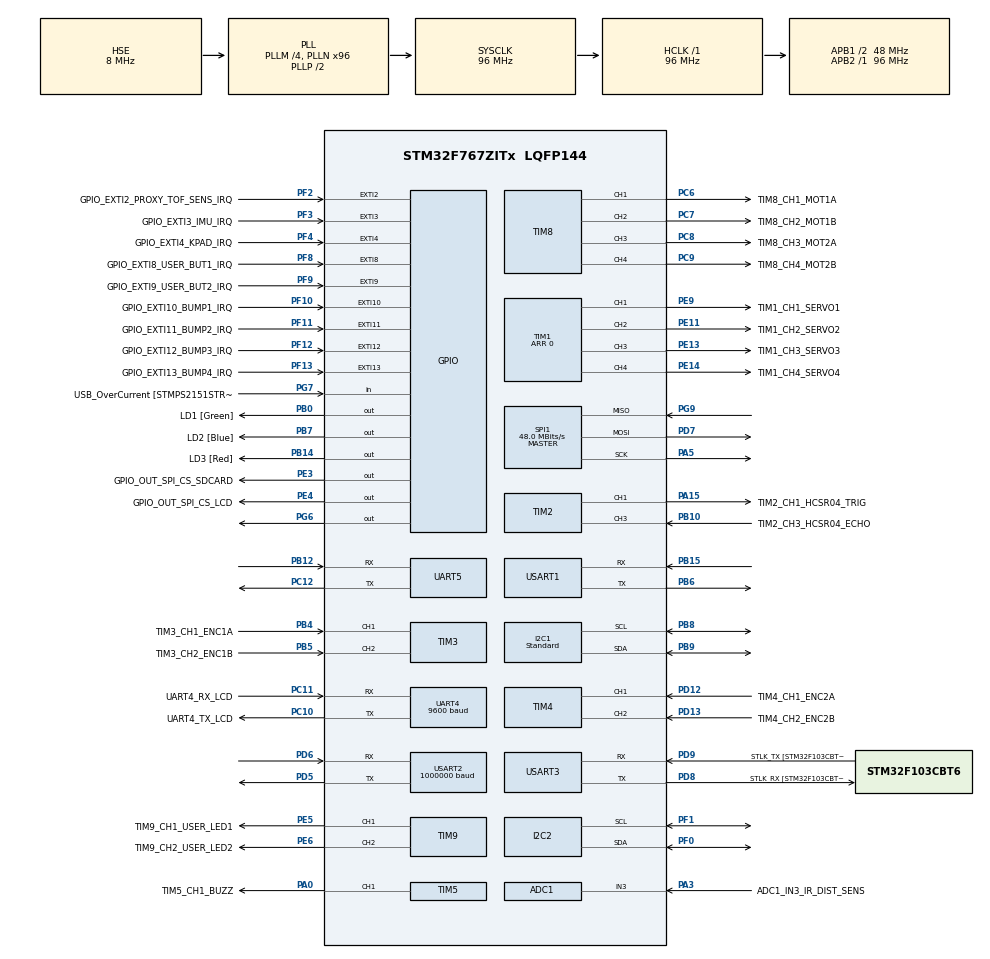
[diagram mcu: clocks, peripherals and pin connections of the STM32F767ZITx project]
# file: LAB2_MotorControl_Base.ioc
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ADC1.Channel-1\#ChannelRegularConversion=ADC_CHANNEL_3
ADC1.NbrOfConversionFlag=1
ADC1.Rank-1\#ChannelRegularConversion=1
ADC1.SamplingTime-1\#ChannelRegularConversion=ADC_SAMPLETIME_3CYCLES
ADC1.master=1
I2C1.I2C_Speed_Mode=I2C_Standard
I2C1.Timing=0x20303E5D
I2C2.Timing=0x20303E5D
Mcu.Family=STM32F7
Mcu.Name=STM32F767ZITx
Mcu.Package=LQFP144
Mcu.UserConstants=TIM3_ARR_VALUE,3839;TIM4_ARR_VALUE,3839;TIM8_PSC_VALUE,959;TIM8_ARR_VALUE,399;TIM6_PSC_VALUE,959;TIM6_ARR_VALUE,999;TIM1_PSC_VALUE,959;TIM1_ARR_VALUE,1999
NVIC.PriorityGroup=NVIC_PRIORITYGROUP_4
NVIC.TIM6_DAC_IRQn=true\:1\:0\:true\:false\:true\:true\:true
PA0/WKUP.GPIO_Label=TIM5_CH1_BUZZ
PA0/WKUP.Signal=S_TIM5_CH1
PA1.GPIO_Label=RMII_REF_CLK [LAN8742A-CZ-TR_REFCLK0]
PA1.Signal=ETH_REF_CLK
PA10.GPIO_Label=USB_ID
PA10.Signal=USB_OTG_FS_ID
PA11.GPIO_Label=USB_DM
PA11.Signal=USB_OTG_FS_DM
PA12.GPIO_Label=USB_DP
PA12.Signal=USB_OTG_FS_DP
PA13.GPIO_Label=TMS
PA13.Mode=Serial_Wire
PA13.Signal=SYS_JTMS-SWDIO
PA14.GPIO_Label=TCK
PA14.Mode=Serial_Wire
PA14.Signal=SYS_JTCK-SWCLK
PA15.GPIO_Label=TIM2_CH1_HCSR04_TRIG
PA15.Signal=S_TIM2_CH1_ETR
PA2.GPIO_Label=RMII_MDIO [LAN8742A-CZ-TR_MDIO]
PA2.Signal=ETH_MDIO
PA3.GPIO_Label=ADC1_IN3_IR_DIST_SENS
PA3.Signal=ADCx_IN3
PA5.Mode=Full_Duplex_Master
PA5.Signal=SPI1_SCK
PA7.GPIO_Label=RMII_CRS_DV [LAN8742A-CZ-TR_CRS_DV]
PA7.Signal=ETH_CRS_DV
PA8.GPIO_Label=USB_SOF [TP1]
PA8.Signal=USB_OTG_FS_SOF
PA9.GPIO_Label=USB_VBUS
PA9.Signal=USB_OTG_FS_VBUS
PB0.GPIO_Label=LD1 [Green]
PB0.Signal=GPIO_Output
PB10.GPIO_Label=TIM2_CH3_HCSR04_ECHO
PB10.Signal=S_TIM2_CH3
PB12.Mode=Asynchronous
PB12.Signal=UART5_RX
PB13.GPIO_Label=RMII_TXD1 [LAN8742A-CZ-TR_TXD1]
PB13.Signal=ETH_TXD1
PB14.GPIO_Label=LD3 [Red]
PB14.Signal=GPIO_Output
PB15.Mode=Asynchronous
PB15.Signal=USART1_RX
PB3.GPIO_Label=SWO
PB3.Signal=SYS_JTDO-SWO
PB4.GPIO_Label=TIM3_CH1_ENC1A
PB4.Signal=S_TIM3_CH1
PB5.GPIO_Label=TIM3_CH2_ENC1B
PB5.Signal=S_TIM3_CH2
PB6.Mode=Asynchronous
PB6.Signal=USART1_TX
PB7.GPIO_Label=LD2 [Blue]
PB7.Signal=GPIO_Output
PB8.Mode=I2C
PB8.Signal=I2C1_SCL
PB9.Mode=I2C
PB9.Signal=I2C1_SDA
PC1.GPIO_Label=RMII_MDC [LAN8742A-CZ-TR_MDC]
PC1.Signal=ETH_MDC
PC10.GPIO_Label=UART4_TX_LCD
PC10.Mode=Asynchronous
PC10.Signal=UART4_TX
PC11.GPIO_Label=UART4_RX_LCD
PC11.Mode=Asynchronous
PC11.Signal=UART4_RX
PC12.Mode=Asynchronous
PC12.Signal=UART5_TX
PC14/OSC32_IN.Mode=LSE-External-Oscillator
PC14/OSC32_IN.Signal=RCC_OSC32_IN
PC15/OSC32_OUT.Mode=LSE-External-Oscillator
PC15/OSC32_OUT.Signal=RCC_OSC32_OUT
PC4.GPIO_Label=RMII_RXD0 [LAN8742A-CZ-TR_RXD0]
PC4.Signal=ETH_RXD0
PC5.GPIO_Label=RMII_RXD1 [LAN8742A-CZ-TR_RXD1]
PC5.Signal=ETH_RXD1
PC6.GPIO_Label=TIM8_CH1_MOT1A
PC6.Signal=S_TIM8_CH1
PC7.GPIO_Label=TIM8_CH2_MOT1B
PC7.Signal=S_TIM8_CH2
PC8.GPIO_Label=TIM8_CH3_MOT2A
PC8.Signal=S_TIM8_CH3
PC9.GPIO_Label=TIM8_CH4_MOT2B
PC9.Signal=S_TIM8_CH4
PD12.GPIO_Label=TIM4_CH1_ENC2A
PD12.Signal=S_TIM4_CH1
PD13.GPIO_Label=TIM4_CH2_ENC2B
PD13.Signal=S_TIM4_CH2
PD5.Mode=Asynchronous
PD5.Signal=USART2_TX
PD6.Mode=Asynchronous
PD6.Signal=USART2_RX
PD7.Mode=Full_Duplex_Master
PD7.Signal=SPI1_MOSI
PD8.GPIO_Label=STLK_RX [STM32F103CBT6_PA3]
PD8.Mode=Asynchronous
PD8.Signal=USART3_TX
PD9.GPIO_Label=STLK_TX [STM32F103CBT6_PA2]
PD9.Mode=Asynchronous
PD9.Signal=USART3_RX
PE11.GPIO_Label=TIM1_CH2_SERVO2
PE11.Signal=S_TIM1_CH2
PE13.GPIO_Label=TIM1_CH3_SERVO3
PE13.Signal=S_TIM1_CH3
PE14.GPIO_Label=TIM1_CH4_SERVO4
PE14.Signal=S_TIM1_CH4
PE3.GPIO_Label=GPIO_OUT_SPI_CS_SDCARD
PE3.Signal=GPIO_Output
PE4.GPIO_Label=GPIO_OUT_SPI_CS_LCD
PE4.Signal=GPIO_Output
PE5.GPIO_Label=TIM9_CH1_USER_LED1
PE5.Signal=S_TIM9_CH1
PE6.GPIO_Label=TIM9_CH2_USER_LED2
PE6.Signal=S_TIM9_CH2
PE9.GPIO_Label=TIM1_CH1_SERVO1
PE9.Signal=S_TIM1_CH1
PF0.Mode=I2C
PF0.Signal=I2C2_SDA
PF1.Mode=I2C
PF1.Signal=I2C2_SCL
PF10.GPIO_Label=GPIO_EXTI10_BUMP1_IRQ
PF10.Signal=GPXTI10
PF11.GPIO_Label=GPIO_EXTI11_BUMP2_IRQ
PF11.Signal=GPXTI11
PF12.GPIO_Label=GPIO_EXTI12_BUMP3_IRQ
PF12.Signal=GPXTI12
PF13.GPIO_Label=GPIO_EXTI13_BUMP4_IRQ
PF13.Signal=GPXTI13
PF2.GPIO_Label=GPIO_EXTI2_PROXY_TOF_SENS_IRQ
PF2.Signal=GPXTI2
PF3.GPIO_Label=GPIO_EXTI3_IMU_IRQ
PF3.Signal=GPXTI3
PF4.GPIO_Label=GPIO_EXTI4_KPAD_IRQ
PF4.Signal=GPXTI4
PF8.GPIO_Label=GPIO_EXTI8_USER_BUT1_IRQ
PF8.Signal=GPXTI8
PF9.GPIO_Label=GPIO_EXTI9_USER_BUT2_IRQ
PF9.Signal=GPXTI9
PG11.GPIO_Label=RMII_TX_EN [LAN8742A-CZ-TR_TXEN]
PG11.Signal=ETH_TX_EN
PG13.GPIO_Label=RMII_TXD0 [LAN8742A-CZ-TR_TXD0]
PG13.Signal=ETH_TXD0
PG6.Signal=GPIO_Output
PG7.GPIO_Label=USB_OverCurrent [STMPS2151STR_FAULT]
PG7.Signal=GPIO_Input
PG9.Mode=Full_Duplex_Master
PG9.Signal=SPI1_MISO
PH0/OSC_IN.GPIO_Label=MCO [STM32F103CBT6_PA8]
PH0/OSC_IN.Mode=HSE-External-Clock-Source
PH0/OSC_IN.Signal=RCC_OSC_IN
PH1/OSC_OUT.Mode=HSE-External-Clock-Source
PH1/OSC_OUT.Signal=RCC_OSC_OUT
ProjectManager.HeapSize=0x200
ProjectManager.StackSize=0x400
ProjectManager.TargetToolchain=STM32CubeIDE
RCC.48MHZClocksFreq_Value=24000000
RCC.AHBFreq_Value=96000000
RCC.APB1CLKDivider=RCC_HCLK_DIV2
RCC.APB1Freq_Value=48000000
RCC.APB1TimFreq_Value=96000000
RCC.APB2Freq_Value=96000000
RCC.APB2TimFreq_Value=96000000
RCC.CortexFreq_Value=96000000
RCC.HCLKFreq_Value=96000000
RCC.HSE_VALUE=8000000
RCC.HSI_VALUE=16000000
RCC.PLLM=4
RCC.PLLMUL=RCC_PLL_MUL9
RCC.PLLN=96
RCC.PLLQ=4
RCC.PLLSourceVirtual=RCC_PLLSOURCE_HSE
RCC.PRESCALERUSB=RCC_USBCLKSOURCE_PLL_DIV1_5
RCC.SYSCLKFreq_VALUE=96000000
RCC.SYSCLKSource=RCC_SYSCLKSOURCE_PLLCLK
RCC.SYSCLKSourceVirtual=RCC_SYSCLKSOURCE_PLLCLK
RCC.USBFreq_Value=48000000
RCC.VCOOutputFreq_Value=192000000
SH.ADCx_IN3.0=ADC1_IN3,IN3
SH.S_TIM1_CH1.0=TIM1_CH1,Forced Output1 CH1
SH.S_TIM1_CH2.0=TIM1_CH2,Forced Output2 CH2
SH.S_TIM1_CH3.0=TIM1_CH3,Forced Output3 CH3
SH.S_TIM1_CH4.0=TIM1_CH4,Forced Output4 CH4
SH.S_TIM2_CH1_ETR.0=TIM2_CH1,PWM Generation1 CH1
SH.S_TIM2_CH3.0=TIM2_CH3,Input_Capture3_from_TI3
SH.S_TIM3_CH1.0=TIM3_CH1,Encoder_Interface
SH.S_TIM3_CH2.0=TIM3_CH2,Encoder_Interface
SH.S_TIM4_CH1.0=TIM4_CH1,Encoder_Interface
SH.S_TIM4_CH2.0=TIM4_CH2,Encoder_Interface
SH.S_TIM5_CH1.0=TIM5_CH1,PWM Generation1 CH1
SH.S_TIM8_CH1.0=TIM8_CH1,PWM Generation1 CH1
SH.S_TIM8_CH2.0=TIM8_CH2,PWM Generation2 CH2
SH.S_TIM8_CH3.0=TIM8_CH3,PWM Generation3 CH3
SH.S_TIM8_CH4.0=TIM8_CH4,PWM Generation4 CH4
SH.S_TIM9_CH1.0=TIM9_CH1,PWM Generation1 CH1
SH.S_TIM9_CH2.0=TIM9_CH2,PWM Generation2 CH2
SPI1.CalculateBaudRate=48.0 MBits/s
SPI1.Direction=SPI_DIRECTION_2LINES
SPI1.Mode=SPI_MODE_MASTER
SPI1.VirtualType=VM_MASTER
TIM1.Channel-Forced\ Output1\ CH1=TIM_CHANNEL_1
TIM1.Channel-Forced\ Output2\ CH2=TIM_CHANNEL_2
TIM1.Channel-Forced\ Output3\ CH3=TIM_CHANNEL_3
TIM1.Channel-Forced\ Output4\ CH4=TIM_CHANNEL_4
TIM1.OCPolarity_1=TIM_OCPOLARITY_LOW
TIM1.OCPolarity_2=TIM_OCPOLARITY_LOW
TIM1.OCPolarity_3=TIM_OCPOLARITY_LOW
TIM1.OCPolarity_4=TIM_OCPOLARITY_LOW
TIM1.Period=0
TIM2.Channel-Input_Capture3_from_TI3=TIM_CHANNEL_3
TIM2.Channel-PWM\ Generation1\ CH1=TIM_CHANNEL_1
TIM3.EncoderMode=TIM_ENCODERMODE_TI12
TIM3.IC1Filter=15
TIM3.IC2Filter=15
TIM3.Period=TIM3_ARR_VALUE
TIM4.EncoderMode=TIM_ENCODERMODE_TI12
TIM4.IC1Filter=15
TIM4.IC2Filter=15
TIM4.Period=TIM4_ARR_VALUE
TIM5.Channel-PWM\ Generation1\ CH1=TIM_CHANNEL_1
TIM6.Period=TIM6_ARR_VALUE
TIM6.Prescaler=TIM6_PSC_VALUE
TIM8.Channel-PWM\ Generation1\ CH1=TIM_CHANNEL_1
TIM8.Channel-PWM\ Generation2\ CH2=TIM_CHANNEL_2
TIM8.Channel-PWM\ Generation3\ CH3=TIM_CHANNEL_3
TIM8.Channel-PWM\ Generation4\ CH4=TIM_CHANNEL_4
TIM8.Period=TIM8_ARR_VALUE
TIM8.Prescaler=TIM8_PSC_VALUE
TIM9.Channel-PWM\ Generation1\ CH1=TIM_CHANNEL_1
TIM9.Channel-PWM\ Generation2\ CH2=TIM_CHANNEL_2
UART4.BaudRate=9600
USART1.VirtualMode-Asynchronous=VM_ASYNC
USART2.BaudRate=1000000
USART2.VirtualMode-Asynchronous=VM_ASYNC
USART3.VirtualMode-Asynchronous=VM_ASYNC
VP_TIM1_VS_ClockSourceINT.Mode=Internal
VP_TIM2_VS_ClockSourceINT.Mode=Internal
VP_TIM5_VS_ClockSourceINT.Mode=Internal
VP_TIM6_VS_ClockSourceINT.Mode=Enable_Timer
VP_TIM8_VS_ClockSourceINT.Mode=Internal
board=NUCLEO-F767ZI

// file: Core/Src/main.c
/* USER CODE BEGIN Header */
/**
  ******************************************************************************
  * @file           : main.c
  * @brief          : Main program body
  ******************************************************************************
  * @attention
  *
  * <h2><center>&copy; Copyright (c) 2021 STMicroelectronics.
  * All rights reserved.</center></h2>
  *
  * This software component is licensed by ST under BSD 3-Clause license,
  * the "License"; You may not use this file except in compliance with the
  * License. You may obtain a copy of the License at:
  *                        opensource.org/licenses/BSD-3-Clause
  *
  ******************************************************************************
  */
/* USER CODE END Header */
#include "main.h"

/* USER CODE BEGIN Includes */
#include <math.h>
#include <stdbool.h>
#include "ertc-datalogger.h"
/* USER CODE END Includes */

/* USER CODE BEGIN PD */
//#define	HAL_TIMEOUT		1
#define TS	0.01

#define VBATT	8.0
#define V2DUTY	((float)(TIM8_ARR_VALUE+1)/VBATT)
#define DUTY2V	((float)VBATT/(TIM8_ARR_VALUE+1))

#define RPM2RADS	2*M_PI/60
/* USER CODE END PD */

ADC_HandleTypeDef hadc1;

I2C_HandleTypeDef hi2c1;
I2C_HandleTypeDef hi2c2;

SPI_HandleTypeDef hspi1;

TIM_HandleTypeDef htim1;
TIM_HandleTypeDef htim2;
TIM_HandleTypeDef htim3;
TIM_HandleTypeDef htim4;
TIM_HandleTypeDef htim5;
TIM_HandleTypeDef htim6;
TIM_HandleTypeDef htim8;
TIM_HandleTypeDef htim9;

UART_HandleTypeDef huart4;
UART_HandleTypeDef huart5;
UART_HandleTypeDef huart1;
UART_HandleTypeDef huart2;
UART_HandleTypeDef huart3;

/* USER CODE BEGIN PV */
struct ertc_dlog logger;
/* USER CODE END PV */

void SystemClock_Config(void);
static void MX_GPIO_Init(void);
static void MX_USART3_UART_Init(void);
static void MX_ADC1_Init(void);
static void MX_I2C1_Init(void);
static void MX_I2C2_Init(void);
static void MX_SPI1_Init(void);
static void MX_TIM1_Init(void);
static void MX_TIM2_Init(void);
static void MX_TIM3_Init(void);
static void MX_TIM4_Init(void);
static void MX_TIM5_Init(void);
static void MX_TIM8_Init(void);
static void MX_UART4_Init(void);
static void MX_UART5_Init(void);
static void MX_USART1_UART_Init(void);
static void MX_USART2_UART_Init(void);
static void MX_TIM9_Init(void);
static void MX_TIM6_Init(void);

/* USER CODE BEGIN 0 */

struct datalog {
	float w1, w2;
	float u1, u2;
} data;

void HAL_TIM_PeriodElapsedCallback(TIM_HandleTypeDef *htim)
{
	/* Speed ctrl routine */
	if(htim->Instance == TIM6)
	{
     	/*	Prepare data packet */
		data.w1 = 10;
		data.w2 += 1.085;
		data.u1 = -3.14;
		data.u2 = 0.555683;

		ertc_dlog_send(&logger, &data, sizeof(data));
	}
}
/* USER CODE END 0 */

int main(void)
{

  /* MCU Configuration--------------------------------------------------------*/

  /* Reset of all peripherals, Initializes the Flash interface and the Systick. */
  HAL_Init();

  /* Configure the system clock */
  SystemClock_Config();

  /* Initialize all configured peripherals */
  MX_GPIO_Init();
  MX_USART3_UART_Init();
  MX_ADC1_Init();
  MX_I2C1_Init();
  MX_I2C2_Init();
  MX_SPI1_Init();
  MX_TIM1_Init();
  MX_TIM2_Init();
  MX_TIM3_Init();
  MX_TIM4_Init();
  MX_TIM5_Init();
  MX_TIM8_Init();
  MX_UART4_Init();
  MX_UART5_Init();
  MX_USART1_UART_Init();
  MX_USART2_UART_Init();
  MX_TIM9_Init();
  MX_TIM6_Init();
  /* USER CODE BEGIN 2 */

  logger.uart_handle = huart3; // for serial
  //logger.uart_handle = huart2; // for wifi

  /* Reset LCD */
  HAL_GPIO_WritePin(GPIO_OUT_SPI_CS_LCD_GPIO_Port, GPIO_OUT_SPI_CS_LCD_Pin, GPIO_PIN_SET);

  HAL_Delay(1000);

  /* Start encoders timers */
  HAL_TIM_Encoder_Start(&htim3, TIM_CHANNEL_ALL);
  HAL_TIM_Encoder_Start(&htim4, TIM_CHANNEL_ALL);

  /* Start servomotors PWM (avoid floating inputs to servomotors) */
  HAL_TIM_PWM_Start(&htim1, TIM_CHANNEL_1);
  HAL_TIM_PWM_Start(&htim1, TIM_CHANNEL_2);
  HAL_TIM_PWM_Start(&htim1, TIM_CHANNEL_3);
  HAL_TIM_PWM_Start(&htim1, TIM_CHANNEL_4);

  /* Start motor PWM */
  __HAL_TIM_SET_COMPARE(&htim8, TIM_CHANNEL_1, 0);
  __HAL_TIM_SET_COMPARE(&htim8, TIM_CHANNEL_2, 0);
  __HAL_TIM_SET_COMPARE(&htim8, TIM_CHANNEL_3, 0);
  __HAL_TIM_SET_COMPARE(&htim8, TIM_CHANNEL_4, 0);

  HAL_TIM_PWM_Start(&htim8, TIM_CHANNEL_1);
  HAL_TIM_PWM_Start(&htim8, TIM_CHANNEL_2);
  HAL_TIM_PWM_Start(&htim8, TIM_CHANNEL_3);
  HAL_TIM_PWM_Start(&htim8, TIM_CHANNEL_4);

  /* Start speed ctrl ISR */
  HAL_TIM_Base_Start_IT(&htim6);

  /* USER CODE END 2 */

  /* Infinite loop */
  while (1)
  {

    /* USER CODE BEGIN 3 */
	  ertc_dlog_update(&logger);

  }
  /* USER CODE END 3 */
}

void SystemClock_Config(void)
{
  RCC_OscInitTypeDef RCC_OscInitStruct = {0};
  RCC_ClkInitTypeDef RCC_ClkInitStruct = {0};
  RCC_PeriphCLKInitTypeDef PeriphClkInitStruct = {0};

  /** Configure LSE Drive Capability
  */
  HAL_PWR_EnableBkUpAccess();
  /** Configure the main internal regulator output voltage
  */
  __HAL_RCC_PWR_CLK_ENABLE();
  __HAL_PWR_VOLTAGESCALING_CONFIG(PWR_REGULATOR_VOLTAGE_SCALE3);
  /** Initializes the RCC Oscillators according to the specified parameters
  * in the RCC_OscInitTypeDef structure.
  */
  RCC_OscInitStruct.OscillatorType = RCC_OSCILLATORTYPE_HSE;
  RCC_OscInitStruct.HSEState = RCC_HSE_BYPASS;
  RCC_OscInitStruct.PLL.PLLState = RCC_PLL_ON;
  RCC_OscInitStruct.PLL.PLLSource = RCC_PLLSOURCE_HSE;
  RCC_OscInitStruct.PLL.PLLM = 4;
  RCC_OscInitStruct.PLL.PLLN = 96;
  RCC_OscInitStruct.PLL.PLLP = RCC_PLLP_DIV2;
  RCC_OscInitStruct.PLL.PLLQ = 4;
  if (HAL_RCC_OscConfig(&RCC_OscInitStruct) != HAL_OK)
  {
    Error_Handler();
  }
  /** Activate the Over-Drive mode
  */
  if (HAL_PWREx_EnableOverDrive() != HAL_OK)
  {
    Error_Handler();
  }
  /** Initializes the CPU, AHB and APB buses clocks
  */
  RCC_ClkInitStruct.ClockType = RCC_CLOCKTYPE_HCLK|RCC_CLOCKTYPE_SYSCLK
                              |RCC_CLOCKTYPE_PCLK1|RCC_CLOCKTYPE_PCLK2;
  RCC_ClkInitStruct.SYSCLKSource = RCC_SYSCLKSOURCE_PLLCLK;
  RCC_ClkInitStruct.AHBCLKDivider = RCC_SYSCLK_DIV1;
  RCC_ClkInitStruct.APB1CLKDivider = RCC_HCLK_DIV2;
  RCC_ClkInitStruct.APB2CLKDivider = RCC_HCLK_DIV1;

  if (HAL_RCC_ClockConfig(&RCC_ClkInitStruct, FLASH_LATENCY_3) != HAL_OK)
  {
    Error_Handler();
  }
  PeriphClkInitStruct.PeriphClockSelection = RCC_PERIPHCLK_USART1|RCC_PERIPHCLK_USART2
                              |RCC_PERIPHCLK_USART3|RCC_PERIPHCLK_UART4
                              |RCC_PERIPHCLK_UART5|RCC_PERIPHCLK_I2C1
                              |RCC_PERIPHCLK_I2C2;
  PeriphClkInitStruct.Usart1ClockSelection = RCC_USART1CLKSOURCE_PCLK2;
  PeriphClkInitStruct.Usart2ClockSelection = RCC_USART2CLKSOURCE_PCLK1;
  PeriphClkInitStruct.Usart3ClockSelection = RCC_USART3CLKSOURCE_PCLK1;
  PeriphClkInitStruct.Uart4ClockSelection = RCC_UART4CLKSOURCE_PCLK1;
  PeriphClkInitStruct.Uart5ClockSelection = RCC_UART5CLKSOURCE_PCLK1;
  PeriphClkInitStruct.I2c1ClockSelection = RCC_I2C1CLKSOURCE_PCLK1;
  PeriphClkInitStruct.I2c2ClockSelection = RCC_I2C2CLKSOURCE_PCLK1;
  if (HAL_RCCEx_PeriphCLKConfig(&PeriphClkInitStruct) != HAL_OK)
  {
    Error_Handler();
  }
}

static void MX_ADC1_Init(void)
{

  ADC_ChannelConfTypeDef sConfig = {0};

  /** Configure the global features of the ADC (Clock, Resolution, Data Alignment and number of conversion)
  */
  hadc1.Instance = ADC1;
  hadc1.Init.ClockPrescaler = ADC_CLOCK_SYNC_PCLK_DIV4;
  hadc1.Init.Resolution = ADC_RESOLUTION_12B;
  hadc1.Init.ScanConvMode = ADC_SCAN_DISABLE;
  hadc1.Init.ContinuousConvMode = DISABLE;
  hadc1.Init.DiscontinuousConvMode = DISABLE;
  hadc1.Init.ExternalTrigConvEdge = ADC_EXTERNALTRIGCONVEDGE_NONE;
  hadc1.Init.ExternalTrigConv = ADC_SOFTWARE_START;
  hadc1.Init.DataAlign = ADC_DATAALIGN_RIGHT;
  hadc1.Init.NbrOfConversion = 1;
  hadc1.Init.DMAContinuousRequests = DISABLE;
  hadc1.Init.EOCSelection = ADC_EOC_SINGLE_CONV;
  if (HAL_ADC_Init(&hadc1) != HAL_OK)
  {
    Error_Handler();
  }
  /** Configure for the selected ADC regular channel its corresponding rank in the sequencer and its sample time.
  */
  sConfig.Channel = ADC_CHANNEL_3;
  sConfig.Rank = ADC_REGULAR_RANK_1;
  sConfig.SamplingTime = ADC_SAMPLETIME_3CYCLES;
  if (HAL_ADC_ConfigChannel(&hadc1, &sConfig) != HAL_OK)
  {
    Error_Handler();
  }

}

static void MX_I2C1_Init(void)
{

  hi2c1.Instance = I2C1;
  hi2c1.Init.Timing = 0x20303E5D;
  hi2c1.Init.OwnAddress1 = 0;
  hi2c1.Init.AddressingMode = I2C_ADDRESSINGMODE_7BIT;
  hi2c1.Init.DualAddressMode = I2C_DUALADDRESS_DISABLE;
  hi2c1.Init.OwnAddress2 = 0;
  hi2c1.Init.OwnAddress2Masks = I2C_OA2_NOMASK;
  hi2c1.Init.GeneralCallMode = I2C_GENERALCALL_DISABLE;
  hi2c1.Init.NoStretchMode = I2C_NOSTRETCH_DISABLE;
  if (HAL_I2C_Init(&hi2c1) != HAL_OK)
  {
    Error_Handler();
  }
  /** Configure Analogue filter
  */
  if (HAL_I2CEx_ConfigAnalogFilter(&hi2c1, I2C_ANALOGFILTER_ENABLE) != HAL_OK)
  {
    Error_Handler();
  }
  /** Configure Digital filter
  */
  if (HAL_I2CEx_ConfigDigitalFilter(&hi2c1, 0) != HAL_OK)
  {
    Error_Handler();
  }

}

static void MX_I2C2_Init(void)
{

  hi2c2.Instance = I2C2;
  hi2c2.Init.Timing = 0x20303E5D;
  hi2c2.Init.OwnAddress1 = 0;
  hi2c2.Init.AddressingMode = I2C_ADDRESSINGMODE_7BIT;
  hi2c2.Init.DualAddressMode = I2C_DUALADDRESS_DISABLE;
  hi2c2.Init.OwnAddress2 = 0;
  hi2c2.Init.OwnAddress2Masks = I2C_OA2_NOMASK;
  hi2c2.Init.GeneralCallMode = I2C_GENERALCALL_DISABLE;
  hi2c2.Init.NoStretchMode = I2C_NOSTRETCH_DISABLE;
  if (HAL_I2C_Init(&hi2c2) != HAL_OK)
  {
    Error_Handler();
  }
  /** Configure Analogue filter
  */
  if (HAL_I2CEx_ConfigAnalogFilter(&hi2c2, I2C_ANALOGFILTER_ENABLE) != HAL_OK)
  {
    Error_Handler();
  }
  /** Configure Digital filter
  */
  if (HAL_I2CEx_ConfigDigitalFilter(&hi2c2, 0) != HAL_OK)
  {
    Error_Handler();
  }

}

static void MX_SPI1_Init(void)
{

  /* SPI1 parameter configuration*/
  hspi1.Instance = SPI1;
  hspi1.Init.Mode = SPI_MODE_MASTER;
  hspi1.Init.Direction = SPI_DIRECTION_2LINES;
  hspi1.Init.DataSize = SPI_DATASIZE_4BIT;
  hspi1.Init.CLKPolarity = SPI_POLARITY_LOW;
  hspi1.Init.CLKPhase = SPI_PHASE_1EDGE;
  hspi1.Init.NSS = SPI_NSS_SOFT;
  hspi1.Init.BaudRatePrescaler = SPI_BAUDRATEPRESCALER_2;
  hspi1.Init.FirstBit = SPI_FIRSTBIT_MSB;
  hspi1.Init.TIMode = SPI_TIMODE_DISABLE;
  hspi1.Init.CRCCalculation = SPI_CRCCALCULATION_DISABLE;
  hspi1.Init.CRCPolynomial = 7;
  hspi1.Init.CRCLength = SPI_CRC_LENGTH_DATASIZE;
  hspi1.Init.NSSPMode = SPI_NSS_PULSE_ENABLE;
  if (HAL_SPI_Init(&hspi1) != HAL_OK)
  {
    Error_Handler();
  }

}

static void MX_TIM1_Init(void)
{

  TIM_ClockConfigTypeDef sClockSourceConfig = {0};
  TIM_MasterConfigTypeDef sMasterConfig = {0};
  TIM_OC_InitTypeDef sConfigOC = {0};
  TIM_BreakDeadTimeConfigTypeDef sBreakDeadTimeConfig = {0};

  htim1.Instance = TIM1;
  htim1.Init.Prescaler = 0;
  htim1.Init.CounterMode = TIM_COUNTERMODE_UP;
  htim1.Init.Period = 0;
  htim1.Init.ClockDivision = TIM_CLOCKDIVISION_DIV1;
  htim1.Init.RepetitionCounter = 0;
  htim1.Init.AutoReloadPreload = TIM_AUTORELOAD_PRELOAD_DISABLE;
  if (HAL_TIM_Base_Init(&htim1) != HAL_OK)
  {
    Error_Handler();
  }
  sClockSourceConfig.ClockSource = TIM_CLOCKSOURCE_INTERNAL;
  if (HAL_TIM_ConfigClockSource(&htim1, &sClockSourceConfig) != HAL_OK)
  {
    Error_Handler();
  }
  if (HAL_TIM_OC_Init(&htim1) != HAL_OK)
  {
    Error_Handler();
  }
  sMasterConfig.MasterOutputTrigger = TIM_TRGO_RESET;
  sMasterConfig.MasterOutputTrigger2 = TIM_TRGO2_RESET;
  sMasterConfig.MasterSlaveMode = TIM_MASTERSLAVEMODE_DISABLE;
  if (HAL_TIMEx_MasterConfigSynchronization(&htim1, &sMasterConfig) != HAL_OK)
  {
    Error_Handler();
  }
  sConfigOC.OCMode = TIM_OCMODE_FORCED_ACTIVE;
  sConfigOC.Pulse = 0;
  sConfigOC.OCPolarity = TIM_OCPOLARITY_LOW;
  sConfigOC.OCNPolarity = TIM_OCNPOLARITY_HIGH;
  sConfigOC.OCFastMode = TIM_OCFAST_DISABLE;
  sConfigOC.OCIdleState = TIM_OCIDLESTATE_RESET;
  sConfigOC.OCNIdleState = TIM_OCNIDLESTATE_RESET;
  if (HAL_TIM_OC_ConfigChannel(&htim1, &sConfigOC, TIM_CHANNEL_1) != HAL_OK)
  {
    Error_Handler();
  }
  if (HAL_TIM_OC_ConfigChannel(&htim1, &sConfigOC, TIM_CHANNEL_2) != HAL_OK)
  {
    Error_Handler();
  }
  if (HAL_TIM_OC_ConfigChannel(&htim1, &sConfigOC, TIM_CHANNEL_3) != HAL_OK)
  {
    Error_Handler();
  }
  if (HAL_TIM_OC_ConfigChannel(&htim1, &sConfigOC, TIM_CHANNEL_4) != HAL_OK)
  {
    Error_Handler();
  }
  sBreakDeadTimeConfig.OffStateRunMode = TIM_OSSR_DISABLE;
  sBreakDeadTimeConfig.OffStateIDLEMode = TIM_OSSI_DISABLE;
  sBreakDeadTimeConfig.LockLevel = TIM_LOCKLEVEL_OFF;
  sBreakDeadTimeConfig.DeadTime = 0;
  sBreakDeadTimeConfig.BreakState = TIM_BREAK_DISABLE;
  sBreakDeadTimeConfig.BreakPolarity = TIM_BREAKPOLARITY_HIGH;
  sBreakDeadTimeConfig.BreakFilter = 0;
  sBreakDeadTimeConfig.Break2State = TIM_BREAK2_DISABLE;
  sBreakDeadTimeConfig.Break2Polarity = TIM_BREAK2POLARITY_HIGH;
  sBreakDeadTimeConfig.Break2Filter = 0;
  sBreakDeadTimeConfig.AutomaticOutput = TIM_AUTOMATICOUTPUT_DISABLE;
  if (HAL_TIMEx_ConfigBreakDeadTime(&htim1, &sBreakDeadTimeConfig) != HAL_OK)
  {
    Error_Handler();
  }
  HAL_TIM_MspPostInit(&htim1);

}

static void MX_TIM2_Init(void)
{

  TIM_ClockConfigTypeDef sClockSourceConfig = {0};
  TIM_MasterConfigTypeDef sMasterConfig = {0};
  TIM_OC_InitTypeDef sConfigOC = {0};
  TIM_IC_InitTypeDef sConfigIC = {0};

  htim2.Instance = TIM2;
  htim2.Init.Prescaler = 0;
  htim2.Init.CounterMode = TIM_COUNTERMODE_UP;
  htim2.Init.Period = 4294967295;
  htim2.Init.ClockDivision = TIM_CLOCKDIVISION_DIV1;
  htim2.Init.AutoReloadPreload = TIM_AUTORELOAD_PRELOAD_DISABLE;
  if (HAL_TIM_Base_Init(&htim2) != HAL_OK)
  {
    Error_Handler();
  }
  sClockSourceConfig.ClockSource = TIM_CLOCKSOURCE_INTERNAL;
  if (HAL_TIM_ConfigClockSource(&htim2, &sClockSourceConfig) != HAL_OK)
  {
    Error_Handler();
  }
  if (HAL_TIM_PWM_Init(&htim2) != HAL_OK)
  {
    Error_Handler();
  }
  if (HAL_TIM_IC_Init(&htim2) != HAL_OK)
  {
    Error_Handler();
  }
  sMasterConfig.MasterOutputTrigger = TIM_TRGO_RESET;
  sMasterConfig.MasterSlaveMode = TIM_MASTERSLAVEMODE_DISABLE;
  if (HAL_TIMEx_MasterConfigSynchronization(&htim2, &sMasterConfig) != HAL_OK)
  {
    Error_Handler();
  }
  sConfigOC.OCMode = TIM_OCMODE_PWM1;
  sConfigOC.Pulse = 0;
  sConfigOC.OCPolarity = TIM_OCPOLARITY_HIGH;
  sConfigOC.OCFastMode = TIM_OCFAST_DISABLE;
  if (HAL_TIM_PWM_ConfigChannel(&htim2, &sConfigOC, TIM_CHANNEL_1) != HAL_OK)
  {
    Error_Handler();
  }
  sConfigIC.ICPolarity = TIM_INPUTCHANNELPOLARITY_RISING;
  sConfigIC.ICSelection = TIM_ICSELECTION_DIRECTTI;
  sConfigIC.ICPrescaler = TIM_ICPSC_DIV1;
  sConfigIC.ICFilter = 0;
  if (HAL_TIM_IC_ConfigChannel(&htim2, &sConfigIC, TIM_CHANNEL_3) != HAL_OK)
  {
    Error_Handler();
  }
  HAL_TIM_MspPostInit(&htim2);

}

static void MX_TIM3_Init(void)
{

  TIM_Encoder_InitTypeDef sConfig = {0};
  TIM_MasterConfigTypeDef sMasterConfig = {0};

  htim3.Instance = TIM3;
  htim3.Init.Prescaler = 0;
  htim3.Init.CounterMode = TIM_COUNTERMODE_UP;
  htim3.Init.Period = TIM3_ARR_VALUE;
  htim3.Init.ClockDivision = TIM_CLOCKDIVISION_DIV1;
  htim3.Init.AutoReloadPreload = TIM_AUTORELOAD_PRELOAD_DISABLE;
  sConfig.EncoderMode = TIM_ENCODERMODE_TI12;
  sConfig.IC1Polarity = TIM_ICPOLARITY_RISING;
  sConfig.IC1Selection = TIM_ICSELECTION_DIRECTTI;
  sConfig.IC1Prescaler = TIM_ICPSC_DIV1;
  sConfig.IC1Filter = 15;
  sConfig.IC2Polarity = TIM_ICPOLARITY_RISING;
  sConfig.IC2Selection = TIM_ICSELECTION_DIRECTTI;
  sConfig.IC2Prescaler = TIM_ICPSC_DIV1;
  sConfig.IC2Filter = 15;
  if (HAL_TIM_Encoder_Init(&htim3, &sConfig) != HAL_OK)
  {
    Error_Handler();
  }
  sMasterConfig.MasterOutputTrigger = TIM_TRGO_RESET;
  sMasterConfig.MasterSlaveMode = TIM_MASTERSLAVEMODE_DISABLE;
  if (HAL_TIMEx_MasterConfigSynchronization(&htim3, &sMasterConfig) != HAL_OK)
  {
    Error_Handler();
  }

}

static void MX_TIM4_Init(void)
{

  TIM_Encoder_InitTypeDef sConfig = {0};
  TIM_MasterConfigTypeDef sMasterConfig = {0};

  htim4.Instance = TIM4;
  htim4.Init.Prescaler = 0;
  htim4.Init.CounterMode = TIM_COUNTERMODE_UP;
  htim4.Init.Period = TIM4_ARR_VALUE;
  htim4.Init.ClockDivision = TIM_CLOCKDIVISION_DIV1;
  htim4.Init.AutoReloadPreload = TIM_AUTORELOAD_PRELOAD_DISABLE;
  sConfig.EncoderMode = TIM_ENCODERMODE_TI12;
  sConfig.IC1Polarity = TIM_ICPOLARITY_RISING;
  sConfig.IC1Selection = TIM_ICSELECTION_DIRECTTI;
  sConfig.IC1Prescaler = TIM_ICPSC_DIV1;
  sConfig.IC1Filter = 15;
  sConfig.IC2Polarity = TIM_ICPOLARITY_RISING;
  sConfig.IC2Selection = TIM_ICSELECTION_DIRECTTI;
  sConfig.IC2Prescaler = TIM_ICPSC_DIV1;
  sConfig.IC2Filter = 15;
  if (HAL_TIM_Encoder_Init(&htim4, &sConfig) != HAL_OK)
  {
    Error_Handler();
  }
  sMasterConfig.MasterOutputTrigger = TIM_TRGO_RESET;
  sMasterConfig.MasterSlaveMode = TIM_MASTERSLAVEMODE_DISABLE;
  if (HAL_TIMEx_MasterConfigSynchronization(&htim4, &sMasterConfig) != HAL_OK)
  {
    Error_Handler();
  }

}

static void MX_TIM5_Init(void)
{

  TIM_ClockConfigTypeDef sClockSourceConfig = {0};
  TIM_MasterConfigTypeDef sMasterConfig = {0};
  TIM_OC_InitTypeDef sConfigOC = {0};

  htim5.Instance = TIM5;
  htim5.Init.Prescaler = 0;
  htim5.Init.CounterMode = TIM_COUNTERMODE_UP;
  htim5.Init.Period = 4294967295;
  htim5.Init.ClockDivision = TIM_CLOCKDIVISION_DIV1;
  htim5.Init.AutoReloadPreload = TIM_AUTORELOAD_PRELOAD_DISABLE;
  if (HAL_TIM_Base_Init(&htim5) != HAL_OK)
  {
    Error_Handler();
  }
  sClockSourceConfig.ClockSource = TIM_CLOCKSOURCE_INTERNAL;
  if (HAL_TIM_ConfigClockSource(&htim5, &sClockSourceConfig) != HAL_OK)
  {
    Error_Handler();
  }
  if (HAL_TIM_PWM_Init(&htim5) != HAL_OK)
  {
    Error_Handler();
  }
  sMasterConfig.MasterOutputTrigger = TIM_TRGO_RESET;
  sMasterConfig.MasterSlaveMode = TIM_MASTERSLAVEMODE_DISABLE;
  if (HAL_TIMEx_MasterConfigSynchronization(&htim5, &sMasterConfig) != HAL_OK)
  {
    Error_Handler();
  }
  sConfigOC.OCMode = TIM_OCMODE_PWM1;
  sConfigOC.Pulse = 0;
  sConfigOC.OCPolarity = TIM_OCPOLARITY_HIGH;
  sConfigOC.OCFastMode = TIM_OCFAST_DISABLE;
  if (HAL_TIM_PWM_ConfigChannel(&htim5, &sConfigOC, TIM_CHANNEL_1) != HAL_OK)
  {
    Error_Handler();
  }
  HAL_TIM_MspPostInit(&htim5);

}

static void MX_TIM6_Init(void)
{

  TIM_MasterConfigTypeDef sMasterConfig = {0};

  htim6.Instance = TIM6;
  htim6.Init.Prescaler = TIM6_PSC_VALUE;
  htim6.Init.CounterMode = TIM_COUNTERMODE_UP;
  htim6.Init.Period = TIM6_ARR_VALUE;
  htim6.Init.AutoReloadPreload = TIM_AUTORELOAD_PRELOAD_DISABLE;
  if (HAL_TIM_Base_Init(&htim6) != HAL_OK)
  {
    Error_Handler();
  }
  sMasterConfig.MasterOutputTrigger = TIM_TRGO_RESET;
  sMasterConfig.MasterSlaveMode = TIM_MASTERSLAVEMODE_DISABLE;
  if (HAL_TIMEx_MasterConfigSynchronization(&htim6, &sMasterConfig) != HAL_OK)
  {
    Error_Handler();
  }

}

static void MX_TIM8_Init(void)
{

  TIM_ClockConfigTypeDef sClockSourceConfig = {0};
  TIM_MasterConfigTypeDef sMasterConfig = {0};
  TIM_OC_InitTypeDef sConfigOC = {0};
  TIM_BreakDeadTimeConfigTypeDef sBreakDeadTimeConfig = {0};

  htim8.Instance = TIM8;
  htim8.Init.Prescaler = TIM8_PSC_VALUE;
  htim8.Init.CounterMode = TIM_COUNTERMODE_UP;
  htim8.Init.Period = TIM8_ARR_VALUE;
  htim8.Init.ClockDivision = TIM_CLOCKDIVISION_DIV1;
  htim8.Init.RepetitionCounter = 0;
  htim8.Init.AutoReloadPreload = TIM_AUTORELOAD_PRELOAD_DISABLE;
  if (HAL_TIM_Base_Init(&htim8) != HAL_OK)
  {
    Error_Handler();
  }
  sClockSourceConfig.ClockSource = TIM_CLOCKSOURCE_INTERNAL;
  if (HAL_TIM_ConfigClockSource(&htim8, &sClockSourceConfig) != HAL_OK)
  {
    Error_Handler();
  }
  if (HAL_TIM_PWM_Init(&htim8) != HAL_OK)
  {
    Error_Handler();
  }
  sMasterConfig.MasterOutputTrigger = TIM_TRGO_RESET;
  sMasterConfig.MasterOutputTrigger2 = TIM_TRGO2_RESET;
  sMasterConfig.MasterSlaveMode = TIM_MASTERSLAVEMODE_DISABLE;
  if (HAL_TIMEx_MasterConfigSynchronization(&htim8, &sMasterConfig) != HAL_OK)
  {
    Error_Handler();
  }
  sConfigOC.OCMode = TIM_OCMODE_PWM1;
  sConfigOC.Pulse = 0;
  sConfigOC.OCPolarity = TIM_OCPOLARITY_HIGH;
  sConfigOC.OCNPolarity = TIM_OCNPOLARITY_HIGH;
  sConfigOC.OCFastMode = TIM_OCFAST_DISABLE;
  sConfigOC.OCIdleState = TIM_OCIDLESTATE_RESET;
  sConfigOC.OCNIdleState = TIM_OCNIDLESTATE_RESET;
  if (HAL_TIM_PWM_ConfigChannel(&htim8, &sConfigOC, TIM_CHANNEL_1) != HAL_OK)
  {
    Error_Handler();
  }
  if (HAL_TIM_PWM_ConfigChannel(&htim8, &sConfigOC, TIM_CHANNEL_2) != HAL_OK)
  {
    Error_Handler();
  }
  if (HAL_TIM_PWM_ConfigChannel(&htim8, &sConfigOC, TIM_CHANNEL_3) != HAL_OK)
  {
    Error_Handler();
  }
  if (HAL_TIM_PWM_ConfigChannel(&htim8, &sConfigOC, TIM_CHANNEL_4) != HAL_OK)
  {
    Error_Handler();
  }
  sBreakDeadTimeConfig.OffStateRunMode = TIM_OSSR_DISABLE;
  sBreakDeadTimeConfig.OffStateIDLEMode = TIM_OSSI_DISABLE;
  sBreakDeadTimeConfig.LockLevel = TIM_LOCKLEVEL_OFF;
  sBreakDeadTimeConfig.DeadTime = 0;
  sBreakDeadTimeConfig.BreakState = TIM_BREAK_DISABLE;
  sBreakDeadTimeConfig.BreakPolarity = TIM_BREAKPOLARITY_HIGH;
  sBreakDeadTimeConfig.BreakFilter = 0;
  sBreakDeadTimeConfig.Break2State = TIM_BREAK2_DISABLE;
  sBreakDeadTimeConfig.Break2Polarity = TIM_BREAK2POLARITY_HIGH;
  sBreakDeadTimeConfig.Break2Filter = 0;
  sBreakDeadTimeConfig.AutomaticOutput = TIM_AUTOMATICOUTPUT_DISABLE;
  if (HAL_TIMEx_ConfigBreakDeadTime(&htim8, &sBreakDeadTimeConfig) != HAL_OK)
  {
    Error_Handler();
  }
  HAL_TIM_MspPostInit(&htim8);

}

static void MX_TIM9_Init(void)
{

  TIM_OC_InitTypeDef sConfigOC = {0};

  htim9.Instance = TIM9;
  htim9.Init.Prescaler = 0;
  htim9.Init.CounterMode = TIM_COUNTERMODE_UP;
  htim9.Init.Period = 65535;
  htim9.Init.ClockDivision = TIM_CLOCKDIVISION_DIV1;
  htim9.Init.AutoReloadPreload = TIM_AUTORELOAD_PRELOAD_DISABLE;
  if (HAL_TIM_PWM_Init(&htim9) != HAL_OK)
  {
    Error_Handler();
  }
  sConfigOC.OCMode = TIM_OCMODE_PWM1;
  sConfigOC.Pulse = 0;
  sConfigOC.OCPolarity = TIM_OCPOLARITY_HIGH;
  sConfigOC.OCFastMode = TIM_OCFAST_DISABLE;
  if (HAL_TIM_PWM_ConfigChannel(&htim9, &sConfigOC, TIM_CHANNEL_1) != HAL_OK)
  {
    Error_Handler();
  }
  if (HAL_TIM_PWM_ConfigChannel(&htim9, &sConfigOC, TIM_CHANNEL_2) != HAL_OK)
  {
    Error_Handler();
  }
  HAL_TIM_MspPostInit(&htim9);

}

static void MX_UART4_Init(void)
{

  huart4.Instance = UART4;
  huart4.Init.BaudRate = 9600;
  huart4.Init.WordLength = UART_WORDLENGTH_8B;
  huart4.Init.StopBits = UART_STOPBITS_1;
  huart4.Init.Parity = UART_PARITY_NONE;
  huart4.Init.Mode = UART_MODE_TX_RX;
  huart4.Init.HwFlowCtl = UART_HWCONTROL_NONE;
  huart4.Init.OverSampling = UART_OVERSAMPLING_16;
  huart4.Init.OneBitSampling = UART_ONE_BIT_SAMPLE_DISABLE;
  huart4.AdvancedInit.AdvFeatureInit = UART_ADVFEATURE_NO_INIT;
  if (HAL_UART_Init(&huart4) != HAL_OK)
  {
    Error_Handler();
  }

}

static void MX_UART5_Init(void)
{

  huart5.Instance = UART5;
  huart5.Init.BaudRate = 115200;
  huart5.Init.WordLength = UART_WORDLENGTH_8B;
  huart5.Init.StopBits = UART_STOPBITS_1;
  huart5.Init.Parity = UART_PARITY_NONE;
  huart5.Init.Mode = UART_MODE_TX_RX;
  huart5.Init.HwFlowCtl = UART_HWCONTROL_NONE;
  huart5.Init.OverSampling = UART_OVERSAMPLING_16;
  huart5.Init.OneBitSampling = UART_ONE_BIT_SAMPLE_DISABLE;
  huart5.AdvancedInit.AdvFeatureInit = UART_ADVFEATURE_NO_INIT;
  if (HAL_UART_Init(&huart5) != HAL_OK)
  {
    Error_Handler();
  }

}

static void MX_USART1_UART_Init(void)
{

  huart1.Instance = USART1;
  huart1.Init.BaudRate = 115200;
  huart1.Init.WordLength = UART_WORDLENGTH_8B;
  huart1.Init.StopBits = UART_STOPBITS_1;
  huart1.Init.Parity = UART_PARITY_NONE;
  huart1.Init.Mode = UART_MODE_TX_RX;
  huart1.Init.HwFlowCtl = UART_HWCONTROL_NONE;
  huart1.Init.OverSampling = UART_OVERSAMPLING_16;
  huart1.Init.OneBitSampling = UART_ONE_BIT_SAMPLE_DISABLE;
  huart1.AdvancedInit.AdvFeatureInit = UART_ADVFEATURE_NO_INIT;
  if (HAL_UART_Init(&huart1) != HAL_OK)
  {
    Error_Handler();
  }

}

static void MX_USART2_UART_Init(void)
{

  huart2.Instance = USART2;
  huart2.Init.BaudRate = 1000000;
  huart2.Init.WordLength = UART_WORDLENGTH_8B;
  huart2.Init.StopBits = UART_STOPBITS_1;
  huart2.Init.Parity = UART_PARITY_NONE;
  huart2.Init.Mode = UART_MODE_TX_RX;
  huart2.Init.HwFlowCtl = UART_HWCONTROL_NONE;
  huart2.Init.OverSampling = UART_OVERSAMPLING_16;
  huart2.Init.OneBitSampling = UART_ONE_BIT_SAMPLE_DISABLE;
  huart2.AdvancedInit.AdvFeatureInit = UART_ADVFEATURE_NO_INIT;
  if (HAL_UART_Init(&huart2) != HAL_OK)
  {
    Error_Handler();
  }

}

static void MX_USART3_UART_Init(void)
{

  huart3.Instance = USART3;
  huart3.Init.BaudRate = 115200;
  huart3.Init.WordLength = UART_WORDLENGTH_8B;
  huart3.Init.StopBits = UART_STOPBITS_1;
  huart3.Init.Parity = UART_PARITY_NONE;
  huart3.Init.Mode = UART_MODE_TX_RX;
  huart3.Init.HwFlowCtl = UART_HWCONTROL_NONE;
  huart3.Init.OverSampling = UART_OVERSAMPLING_16;
  huart3.Init.OneBitSampling = UART_ONE_BIT_SAMPLE_DISABLE;
  huart3.AdvancedInit.AdvFeatureInit = UART_ADVFEATURE_NO_INIT;
  if (HAL_UART_Init(&huart3) != HAL_OK)
  {
    Error_Handler();
  }

}

static void MX_GPIO_Init(void)
{
  GPIO_InitTypeDef GPIO_InitStruct = {0};

  /* GPIO Ports Clock Enable */
  __HAL_RCC_GPIOE_CLK_ENABLE();
  __HAL_RCC_GPIOC_CLK_ENABLE();
  __HAL_RCC_GPIOF_CLK_ENABLE();
  __HAL_RCC_GPIOH_CLK_ENABLE();
  __HAL_RCC_GPIOA_CLK_ENABLE();
  __HAL_RCC_GPIOB_CLK_ENABLE();
  __HAL_RCC_GPIOD_CLK_ENABLE();
  __HAL_RCC_GPIOG_CLK_ENABLE();

  /*Configure GPIO pin Output Level */
  HAL_GPIO_WritePin(GPIOE, GPIO_OUT_SPI_CS_SDCARD_Pin|GPIO_OUT_SPI_CS_LCD_Pin, GPIO_PIN_RESET);

  /*Configure GPIO pin Output Level */
  HAL_GPIO_WritePin(GPIOB, LD1_Pin|LD3_Pin|LD2_Pin, GPIO_PIN_RESET);

  /*Configure GPIO pin Output Level */
  HAL_GPIO_WritePin(GPIOG, GPIO_PIN_6, GPIO_PIN_RESET);

  /*Configure GPIO pins : GPIO_OUT_SPI_CS_SDCARD_Pin GPIO_OUT_SPI_CS_LCD_Pin */
  GPIO_InitStruct.Pin = GPIO_OUT_SPI_CS_SDCARD_Pin|GPIO_OUT_SPI_CS_LCD_Pin;
  GPIO_InitStruct.Mode = GPIO_MODE_OUTPUT_PP;
  GPIO_InitStruct.Pull = GPIO_NOPULL;
  GPIO_InitStruct.Speed = GPIO_SPEED_FREQ_LOW;
  HAL_GPIO_Init(GPIOE, &GPIO_InitStruct);

  /*Configure GPIO pins : GPIO_EXTI2_PROXY_TOF_SENS_IRQ_Pin GPIO_EXTI3_IMU_IRQ_Pin GPIO_EXTI4_KPAD_IRQ_Pin GPIO_EXTI8_USER_BUT1_IRQ_Pin
                           GPIO_EXTI9_USER_BUT2_IRQ_Pin GPIO_EXTI10_BUMP1_IRQ_Pin GPIO_EXTI11_BUMP2_IRQ_Pin GPIO_EXTI12_BUMP3_IRQ_Pin
                           GPIO_EXTI13_BUMP4_IRQ_Pin */
  GPIO_InitStruct.Pin = GPIO_EXTI2_PROXY_TOF_SENS_IRQ_Pin|GPIO_EXTI3_IMU_IRQ_Pin|GPIO_EXTI4_KPAD_IRQ_Pin|GPIO_EXTI8_USER_BUT1_IRQ_Pin
                          |GPIO_EXTI9_USER_BUT2_IRQ_Pin|GPIO_EXTI10_BUMP1_IRQ_Pin|GPIO_EXTI11_BUMP2_IRQ_Pin|GPIO_EXTI12_BUMP3_IRQ_Pin
                          |GPIO_EXTI13_BUMP4_IRQ_Pin;
  GPIO_InitStruct.Mode = GPIO_MODE_IT_RISING;
  GPIO_InitStruct.Pull = GPIO_NOPULL;
  HAL_GPIO_Init(GPIOF, &GPIO_InitStruct);

  /*Configure GPIO pins : RMII_MDC_Pin RMII_RXD0_Pin RMII_RXD1_Pin */
  GPIO_InitStruct.Pin = RMII_MDC_Pin|RMII_RXD0_Pin|RMII_RXD1_Pin;
  GPIO_InitStruct.Mode = GPIO_MODE_AF_PP;
  GPIO_InitStruct.Pull = GPIO_NOPULL;
  GPIO_InitStruct.Speed = GPIO_SPEED_FREQ_VERY_HIGH;
  GPIO_InitStruct.Alternate = GPIO_AF11_ETH;
  HAL_GPIO_Init(GPIOC, &GPIO_InitStruct);

  /*Configure GPIO pins : RMII_REF_CLK_Pin RMII_MDIO_Pin RMII_CRS_DV_Pin */
  GPIO_InitStruct.Pin = RMII_REF_CLK_Pin|RMII_MDIO_Pin|RMII_CRS_DV_Pin;
  GPIO_InitStruct.Mode = GPIO_MODE_AF_PP;
  GPIO_InitStruct.Pull = GPIO_NOPULL;
  GPIO_InitStruct.Speed = GPIO_SPEED_FREQ_VERY_HIGH;
  GPIO_InitStruct.Alternate = GPIO_AF11_ETH;
  HAL_GPIO_Init(GPIOA, &GPIO_InitStruct);

  /*Configure GPIO pins : LD1_Pin LD3_Pin LD2_Pin */
  GPIO_InitStruct.Pin = LD1_Pin|LD3_Pin|LD2_Pin;
  GPIO_InitStruct.Mode = GPIO_MODE_OUTPUT_PP;
  GPIO_InitStruct.Pull = GPIO_NOPULL;
  GPIO_InitStruct.Speed = GPIO_SPEED_FREQ_LOW;
  HAL_GPIO_Init(GPIOB, &GPIO_InitStruct);

  /*Configure GPIO pin : RMII_TXD1_Pin */
  GPIO_InitStruct.Pin = RMII_TXD1_Pin;
  GPIO_InitStruct.Mode = GPIO_MODE_AF_PP;
  GPIO_InitStruct.Pull = GPIO_NOPULL;
  GPIO_InitStruct.Speed = GPIO_SPEED_FREQ_VERY_HIGH;
  GPIO_InitStruct.Alternate = GPIO_AF11_ETH;
  HAL_GPIO_Init(RMII_TXD1_GPIO_Port, &GPIO_InitStruct);

  /*Configure GPIO pin : PG6 */
  GPIO_InitStruct.Pin = GPIO_PIN_6;
  GPIO_InitStruct.Mode = GPIO_MODE_OUTPUT_PP;
  GPIO_InitStruct.Pull = GPIO_NOPULL;
  GPIO_InitStruct.Speed = GPIO_SPEED_FREQ_LOW;
  HAL_GPIO_Init(GPIOG, &GPIO_InitStruct);

  /*Configure GPIO pin : USB_OverCurrent_Pin */
  GPIO_InitStruct.Pin = USB_OverCurrent_Pin;
  GPIO_InitStruct.Mode = GPIO_MODE_INPUT;
  GPIO_InitStruct.Pull = GPIO_NOPULL;
  HAL_GPIO_Init(USB_OverCurrent_GPIO_Port, &GPIO_InitStruct);

  /*Configure GPIO pins : USB_SOF_Pin USB_ID_Pin USB_DM_Pin USB_DP_Pin */
  GPIO_InitStruct.Pin = USB_SOF_Pin|USB_ID_Pin|USB_DM_Pin|USB_DP_Pin;
  GPIO_InitStruct.Mode = GPIO_MODE_AF_PP;
  GPIO_InitStruct.Pull = GPIO_NOPULL;
  GPIO_InitStruct.Speed = GPIO_SPEED_FREQ_VERY_HIGH;
  GPIO_InitStruct.Alternate = GPIO_AF10_OTG_FS;
  HAL_GPIO_Init(GPIOA, &GPIO_InitStruct);

  /*Configure GPIO pin : USB_VBUS_Pin */
  GPIO_InitStruct.Pin = USB_VBUS_Pin;
  GPIO_InitStruct.Mode = GPIO_MODE_INPUT;
  GPIO_InitStruct.Pull = GPIO_NOPULL;
  HAL_GPIO_Init(USB_VBUS_GPIO_Port, &GPIO_InitStruct);

  /*Configure GPIO pins : RMII_TX_EN_Pin RMII_TXD0_Pin */
  GPIO_InitStruct.Pin = RMII_TX_EN_Pin|RMII_TXD0_Pin;
  GPIO_InitStruct.Mode = GPIO_MODE_AF_PP;
  GPIO_InitStruct.Pull = GPIO_NOPULL;
  GPIO_InitStruct.Speed = GPIO_SPEED_FREQ_VERY_HIGH;
  GPIO_InitStruct.Alternate = GPIO_AF11_ETH;
  HAL_GPIO_Init(GPIOG, &GPIO_InitStruct);

}

void Error_Handler(void)
{
  __disable_irq();
  while (1)
  {
  }
}

/************************ (C) COPYRIGHT STMicroelectronics *****END OF FILE****/
